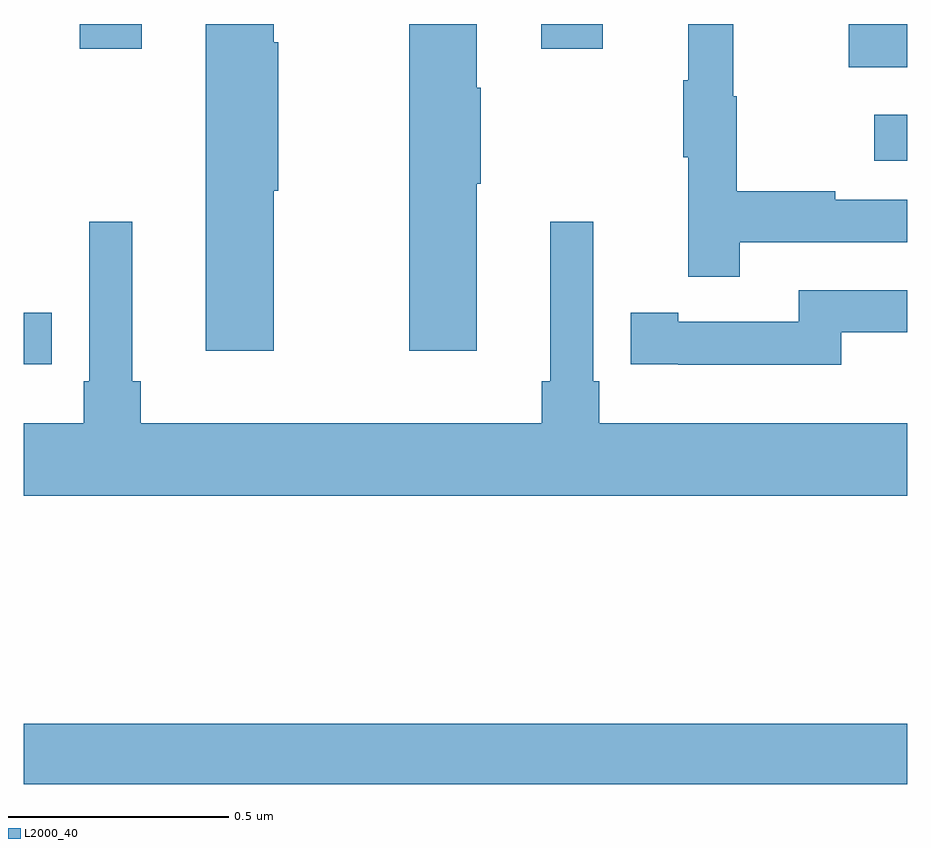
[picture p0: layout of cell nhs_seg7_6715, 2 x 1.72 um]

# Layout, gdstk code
import gdstk
lib = gdstk.Library(unit=1e-6, precision=1e-09)
def R(c, l, rs):  # rectangles x0, y0, x1, y1
    for r in rs: c.add(gdstk.rectangle(r[:2], r[2:], *l))
def P(c, l, *ps):  # polygons
    for p in ps: c.add(gdstk.Polygon(p, *l))
L2000_40 = (2000, 40)

nhs_seg7_6715 = lib.new_cell('nhs_seg7_6715')
R(nhs_seg7_6715, L2000_40, [(202,1017.28,204,1017.416), (202,1018.23,202.064,1018.346), (203.925,1018.691,204,1018.795), (203.867,1018.902,204,1019), (202.127,1018.944,202.267,1019), (203.171,1018.944,203.311,1019)])
P(nhs_seg7_6715, L2000_40, [(203.026,1018.639),(203.034,1018.639),(203.034,1018.856),(203.026,1018.856),(203.026,1019),(202.873,1019),(202.873,1018.26),(203.026,1018.26)],
  [(203.621,1018.506),(204,1018.506),(204,1018.602),(203.837,1018.602),(203.837,1018.622),(203.614,1018.622),(203.614,1018.836),(203.606,1018.836),(203.606,1019),(203.504,1019),(203.504,1018.873),(203.493,1018.873),(203.493,1018.699),(203.504,1018.699),(203.504,1018.428),(203.621,1018.428)],
  [(202.566,1018.623),(202.576,1018.623),(202.576,1018.959),(202.566,1018.959),(202.566,1019),(202.412,1019),(202.412,1018.26),(202.566,1018.26)],
  [(204,1018.096),(203.303,1018.096),(203.303,1018.192),(203.289,1018.192),(203.289,1018.552),(203.192,1018.552),(203.192,1018.192),(203.173,1018.192),(203.173,1018.096),(202.265,1018.096),(202.265,1018.192),(202.246,1018.192),(202.246,1018.552),(202.149,1018.552),(202.149,1018.192),(202.136,1018.192),(202.136,1018.096),(202,1018.096),(202,1017.932),(204,1017.932)],
  [(203.85,1018.302),(204,1018.302),(204,1018.398),(203.754,1018.398),(203.754,1018.326),(203.482,1018.326),(203.482,1018.346),(203.374,1018.346),(203.374,1018.23),(203.482,1018.23),(203.482,1018.229),(203.85,1018.229)])

lib.write_gds('nhs_seg7_6715.gds')
